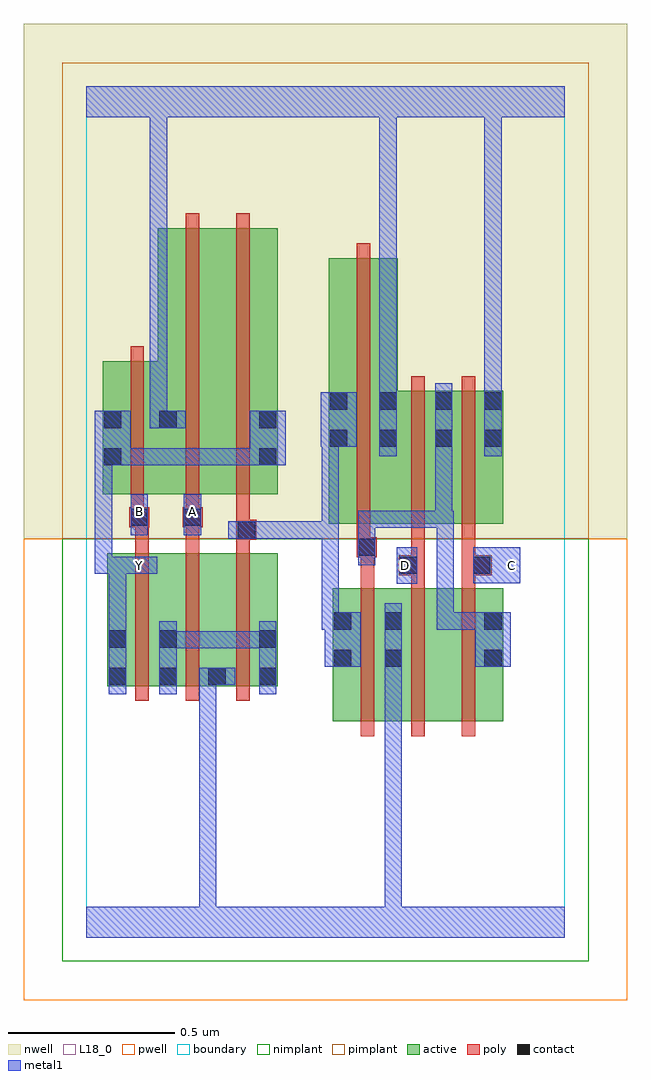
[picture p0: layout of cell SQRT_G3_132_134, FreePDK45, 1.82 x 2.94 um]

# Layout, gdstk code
import gdstk
lib = gdstk.Library(unit=1e-6, precision=1e-09)
def R(c, l, rs):  # rectangles x0, y0, x1, y1
    for r in rs: c.add(gdstk.rectangle(r[:2], r[2:], *l))
def A(c, l, x, y, w, h, nx, ny, dx, dy):  # array of equal rectangles
    R(c, l, [(x+i*dx, y+j*dy, x+i*dx+w, y+j*dy+h) for i in range(nx) for j in range(ny)])
active = (1, 0)
pwell = (2, 0)
nwell = (3, 0)
nimplant = (4, 0)
pimplant = (5, 0)
poly = (9, 0)
contact = (10, 0)
metal1 = (11, 0)
L18_0 = (18, 0)
boundary = (235, 0)

sqrt_g3_132_134 = lib.new_cell('SQRT_G3_132_134')
R(sqrt_g3_132_134, active, [(0.742,0.65,0.954,1.05), (0.894,0.65,1.074,1.05), (1.074,0.65,1.254,1.05), (0.064,0.756,0.276,1.156), (0.064,0.756,0.124,1.156), (0.216,0.756,0.424,1.156), (0.216,0.756,0.276,0.928), (0.364,0.756,0.576,1.156), (0.364,0.756,0.424,1.156), (0.516,0.756,0.576,1.156), (0.742,0.756,0.802,1.05), (0.894,0.756,0.954,0.982), (1.194,0.756,1.254,1.05), (0.73,1.244,0.938,2.044), (0.73,1.244,0.79,2.044), (0.878,1.244,0.938,1.644), (0.878,1.244,1.106,1.644), (1.046,1.244,1.106,1.644), (1.046,1.244,1.254,1.644), (1.194,1.244,1.254,1.644), (0.05,1.334,0.11,1.644), (0.05,1.334,0.276,1.734), (0.216,1.334,0.396,2.134), (0.216,1.334,0.276,1.644), (0.396,1.334,0.576,2.134), (0.516,1.334,0.576,2.044)])
R(sqrt_g3_132_134, pwell, [(-0.188,-0.188,1.628,1.2)])
R(sqrt_g3_132_134, nwell, [(-0.188,1.2,1.628,2.748)])
R(sqrt_g3_132_134, nimplant, [(-0.072,-0.072,1.512,1.2)])
R(sqrt_g3_132_134, pimplant, [(-0.072,1.2,1.512,2.632)])
A(sqrt_g3_132_134, poly, 0.826, 0.606, 0.04, 0.488, 3, 1, 0.152, 0)
A(sqrt_g3_132_134, poly, 0.148, 0.712, 0.04, 0.488, 3, 1, 0.152, 0)
R(sqrt_g3_132_134, poly, [(0.826,1.054,0.866,1.184), (0.978,1.054,1.018,1.13), (1.13,1.054,1.17,1.13), (0.94,1.09,1.018,1.15), (1.13,1.09,1.22,1.15), (0.978,1.11,1.018,1.24), (0.978,1.11,1.018,1.15), (0.978,1.11,1.018,1.15), (1.13,1.11,1.17,1.24), (1.13,1.11,1.17,1.15), (1.13,1.11,1.17,1.15), (0.814,1.144,0.874,1.204), (0.826,1.144,0.866,1.184), (0.826,1.144,0.866,1.184), (0.148,1.16,0.188,1.274), (0.3,1.16,0.34,1.274), (0.452,1.16,0.492,1.236), (0.814,1.164,0.854,1.24), (0.452,1.196,0.492,1.236), (0.452,1.196,0.492,1.236), (0.452,1.196,0.512,1.256), (0.814,1.2,0.854,2.088), (0.978,1.2,1.018,1.688), (1.13,1.2,1.17,1.688), (0.452,1.216,0.492,1.33), (0.13,1.234,0.19,1.294), (0.148,1.234,0.188,1.274), (0.148,1.234,0.188,1.274), (0.29,1.234,0.35,1.294), (0.134,1.254,0.174,1.33), (0.3,1.254,0.34,1.294), (0.3,1.254,0.34,1.294), (0.3,1.254,0.34,1.33), (0.134,1.29,0.174,1.778), (0.3,1.29,0.34,2.178), (0.452,1.29,0.492,2.178)])
R(sqrt_g3_132_134, contact, [(0.068,0.76,0.12,0.812), (0.22,0.76,0.272,0.812), (0.368,0.76,0.42,0.812), (0.52,0.76,0.572,0.812), (0.746,0.814,0.798,0.866), (0.898,0.814,0.95,0.866), (1.198,0.814,1.25,0.866), (0.068,0.872,0.12,0.924), (0.22,0.872,0.272,0.924), (0.52,0.872,0.572,0.924), (0.746,0.926,0.798,0.978), (0.898,0.926,0.95,0.978), (1.198,0.926,1.25,0.978), (0.944,1.094,0.996,1.146), (1.164,1.094,1.216,1.146), (0.818,1.148,0.87,1.2), (0.456,1.2,0.508,1.252), (0.134,1.238,0.186,1.29), (0.294,1.238,0.346,1.29), (0.054,1.42,0.106,1.472), (0.52,1.42,0.572,1.472), (0.734,1.476,0.786,1.528), (0.882,1.476,0.934,1.528), (1.05,1.476,1.102,1.528), (1.198,1.476,1.25,1.528), (0.054,1.532,0.106,1.584), (0.22,1.532,0.272,1.584), (0.52,1.532,0.572,1.584), (0.734,1.588,0.786,1.64), (0.882,1.588,0.934,1.64), (1.05,1.588,1.102,1.64), (1.198,1.588,1.25,1.64)])
R(sqrt_g3_132_134, metal1, [(0,0,1.44,0.092), (0.34,0.04,0.392,0.092), (0.34,0.04,0.392,0.092), (0.34,0.04,0.392,0.092), (0.34,0.04,0.392,0.092), (0.34,0.04,0.392,0.092), (0.34,0.04,0.392,0.092), (0.34,0.04,0.392,0.092), (0.34,0.04,0.392,0.092), (0.34,0.04,0.392,0.092), (0.34,0.04,0.392,0.092), (0.34,0.04,0.392,0.812), (0.898,0.04,0.95,0.092), (0.898,0.04,0.95,0.092), (0.898,0.04,0.95,0.092), (0.898,0.04,0.95,0.092), (0.898,0.04,0.95,0.092), (0.898,0.04,0.95,0.092), (0.898,0.04,0.95,0.092), (0.898,0.04,0.95,0.092), (0.898,0.04,0.95,0.202), (0.898,0.15,0.95,0.202), (0.898,0.15,0.95,0.202), (0.898,0.15,0.95,0.202), (0.898,0.15,0.95,0.838), (0.068,0.732,0.12,0.952), (0.22,0.732,0.272,0.952), (0.52,0.732,0.572,0.952), (0.34,0.76,0.392,0.812), (0.34,0.76,0.392,0.812), (0.34,0.76,0.448,0.812), (0.898,0.786,0.95,1.006), (0.718,0.814,0.826,0.978), (1.17,0.814,1.278,0.978), (0.22,0.87,0.272,0.922), (0.22,0.87,0.272,0.922), (0.22,0.87,0.382,0.922), (0.33,0.87,0.382,0.922), (0.33,0.87,0.382,0.922), (0.33,0.87,0.382,0.922), (0.33,0.87,0.572,0.922), (0.068,0.9,0.12,1.146), (0.708,0.926,0.76,1.252), (0.708,0.926,0.77,0.978), (0.718,0.926,0.77,0.978), (1.054,0.926,1.106,0.978), (1.054,0.926,1.106,0.978), (1.054,0.926,1.106,0.978), (1.054,0.926,1.222,0.978), (1.054,0.926,1.106,1.284), (1.17,0.926,1.222,0.978), (1.17,0.926,1.222,0.978), (0.934,1.064,0.996,1.174), (1.164,1.066,1.306,1.174), (0.026,1.094,0.078,1.472), (0.026,1.094,0.214,1.146), (0.818,1.12,0.87,1.228), (0.818,1.176,0.87,1.228), (0.818,1.176,0.87,1.284), (0.428,1.2,0.536,1.252), (0.484,1.2,0.76,1.252), (0.708,1.2,0.76,1.252), (0.708,1.2,0.76,1.252), (0.708,1.2,0.76,1.252), (0.708,1.2,0.76,1.528), (0.134,1.21,0.186,1.334), (0.294,1.21,0.346,1.334), (0.818,1.232,1.102,1.284), (1.05,1.232,1.102,1.284), (1.05,1.232,1.102,1.284), (1.05,1.232,1.102,1.5), (1.05,1.232,1.106,1.284), (0.026,1.42,0.078,1.472), (0.026,1.42,0.078,1.472), (0.026,1.42,0.134,1.584), (0.082,1.42,0.134,1.472), (0.082,1.42,0.134,1.472), (0.082,1.42,0.244,1.472), (0.192,1.42,0.244,1.472), (0.192,1.42,0.244,1.472), (0.192,1.42,0.244,1.472), (0.192,1.42,0.434,1.472), (0.382,1.42,0.434,1.472), (0.382,1.42,0.544,1.472), (0.492,1.42,0.544,1.472), (0.492,1.42,0.544,1.472), (0.492,1.42,0.6,1.584), (0.882,1.448,0.934,1.668), (1.05,1.448,1.102,1.668), (1.198,1.448,1.25,1.668), (0.706,1.476,0.814,1.64), (0.192,1.532,0.244,1.584), (0.192,1.532,0.244,1.584), (0.192,1.532,0.244,1.584), (0.192,1.532,0.244,1.584), (0.192,1.532,0.244,1.584), (0.192,1.532,0.244,1.584), (0.192,1.532,0.3,1.584), (0.192,1.532,0.244,2.52), (0.882,1.616,0.934,1.668), (0.882,1.616,0.934,1.668), (0.882,1.616,0.934,1.668), (0.882,1.616,0.934,1.668), (0.882,1.616,0.934,2.52), (1.198,1.616,1.25,2.52), (0,2.468,1.44,2.56), (0.192,2.468,0.244,2.52), (0.192,2.468,0.244,2.52), (0.882,2.468,0.934,2.52), (0.882,2.468,0.934,2.52), (0.882,2.468,0.934,2.52), (0.882,2.468,0.934,2.52), (1.198,2.468,1.25,2.52), (1.198,2.468,1.25,2.52), (1.198,2.468,1.25,2.52), (1.198,2.468,1.25,2.52), (1.198,2.468,1.25,2.52), (1.198,2.468,1.25,2.52), (1.198,2.468,1.25,2.52), (1.198,2.468,1.25,2.52), (1.198,2.468,1.25,2.52), (1.198,2.468,1.25,2.52), (1.198,2.468,1.25,2.52), (1.198,2.468,1.25,2.52), (1.198,2.468,1.25,2.52), (1.198,2.468,1.25,2.52), (1.198,2.468,1.25,2.52), (1.198,2.468,1.25,2.52)])
R(sqrt_g3_132_134, L18_0, [(0,0,1.44,0.092), (0.34,0.04,0.392,0.092), (0.34,0.04,0.392,0.092), (0.34,0.04,0.392,0.092), (0.34,0.04,0.392,0.092), (0.34,0.04,0.392,0.092), (0.34,0.04,0.392,0.092), (0.34,0.04,0.392,0.092), (0.34,0.04,0.392,0.092), (0.34,0.04,0.392,0.092), (0.34,0.04,0.392,0.092), (0.34,0.04,0.392,0.812), (0.898,0.04,0.95,0.092), (0.898,0.04,0.95,0.092), (0.898,0.04,0.95,0.092), (0.898,0.04,0.95,0.092), (0.898,0.04,0.95,0.092), (0.898,0.04,0.95,0.092), (0.898,0.04,0.95,0.092), (0.898,0.04,0.95,0.092), (0.898,0.04,0.95,0.202), (0.898,0.15,0.95,0.202), (0.898,0.15,0.95,0.202), (0.898,0.15,0.95,0.202), (0.898,0.15,0.95,0.838), (0.068,0.732,0.12,0.952), (0.34,0.76,0.392,0.812), (0.34,0.76,0.392,0.812), (0.34,0.76,0.448,0.812), (0.898,0.786,0.95,1.006), (0.068,0.9,0.12,1.146), (0.934,1.064,0.996,1.174), (1.164,1.066,1.306,1.174), (0.026,1.094,0.214,1.146), (0.026,1.094,0.078,1.472), (0.134,1.094,0.186,1.146), (0.934,1.094,0.986,1.146), (1.254,1.094,1.306,1.146), (0.134,1.21,0.186,1.334), (0.294,1.21,0.346,1.334), (0.134,1.254,0.186,1.306), (0.294,1.254,0.346,1.306), (0.026,1.42,0.078,1.472), (0.026,1.42,0.078,1.472), (0.026,1.42,0.134,1.584), (0.082,1.42,0.134,1.472), (0.082,1.42,0.134,1.472), (0.082,1.42,0.244,1.472), (0.192,1.42,0.244,1.472), (0.192,1.42,0.244,1.472), (0.192,1.42,0.244,1.472), (0.192,1.42,0.434,1.472), (0.382,1.42,0.434,1.472), (0.382,1.42,0.544,1.472), (0.492,1.42,0.544,1.472), (0.492,1.42,0.544,1.472), (0.492,1.42,0.6,1.584), (0.882,1.448,0.934,1.668), (1.198,1.448,1.25,1.668), (0.192,1.532,0.244,1.584), (0.192,1.532,0.244,1.584), (0.192,1.532,0.244,1.584), (0.192,1.532,0.244,1.584), (0.192,1.532,0.244,1.584), (0.192,1.532,0.244,1.584), (0.192,1.532,0.3,1.584), (0.192,1.532,0.244,2.52), (0.882,1.616,0.934,1.668), (0.882,1.616,0.934,1.668), (0.882,1.616,0.934,1.668), (0.882,1.616,0.934,1.668), (0.882,1.616,0.934,2.52), (1.198,1.616,1.25,2.52), (0,2.468,1.44,2.56), (0.192,2.468,0.244,2.52), (0.192,2.468,0.244,2.52), (0.882,2.468,0.934,2.52), (0.882,2.468,0.934,2.52), (0.882,2.468,0.934,2.52), (0.882,2.468,0.934,2.52), (1.198,2.468,1.25,2.52), (1.198,2.468,1.25,2.52), (1.198,2.468,1.25,2.52), (1.198,2.468,1.25,2.52), (1.198,2.468,1.25,2.52), (1.198,2.468,1.25,2.52), (1.198,2.468,1.25,2.52), (1.198,2.468,1.25,2.52), (1.198,2.468,1.25,2.52), (1.198,2.468,1.25,2.52), (1.198,2.468,1.25,2.52), (1.198,2.468,1.25,2.52), (1.198,2.468,1.25,2.52), (1.198,2.468,1.25,2.52), (1.198,2.468,1.25,2.52), (1.198,2.468,1.25,2.52)])
R(sqrt_g3_132_134, boundary, [(0,0,1.44,2.56)])
sqrt_g3_132_134.add(gdstk.Label('A', (0.32,1.28), layer=11, texttype=0))
sqrt_g3_132_134.add(gdstk.Label('B', (0.16,1.28), layer=11, texttype=0))
sqrt_g3_132_134.add(gdstk.Label('C', (1.28,1.12), layer=11, texttype=0))
sqrt_g3_132_134.add(gdstk.Label('D', (0.96,1.12), layer=11, texttype=0))
sqrt_g3_132_134.add(gdstk.Label('Y', (0.16,1.12), layer=11, texttype=0))

lib.write_gds('SQRT_G3_132_134.gds')
